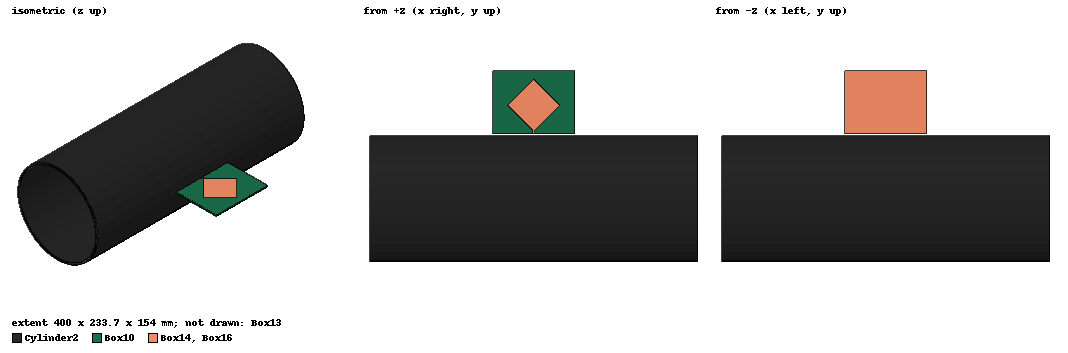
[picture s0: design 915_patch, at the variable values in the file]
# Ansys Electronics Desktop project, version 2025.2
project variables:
  $length = 45.13mm  # tune 40mm..120mm
  $width = 45.13mm  # tune 20mm..60mm
  $indent_length = 11.412526mm
  $indent_clearance = 1mm  # tune 2.5mm..7.5mm
  $indent_width = 2.95mm
  $roffset = 2mm
  $radius = 77mm
  $corner_length = 3mm  # optimise 1.5mm..4.5mm
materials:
  vacuum: permittivity=1
  copper: permeability=0.999991 conductivity=58000000
  air: permittivity=1.0006 permeability=1.0000004
  graphite: conductivity=70000
  FR4_epoxy: permittivity=4.4 dielectric_loss_tangent=0.02
  cast_iron: permeability=60 conductivity=1500000
  CF - Carbon fiber: conductivity=252.337

design 915_patch (HFSS, HFSS Terminal Network, model units mm)
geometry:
  Box10 [FR4_epoxy] = box(corner=(50mm, $radius+$roffset, 0.8mm), size=(-100mm, $length*1.5+10mm, -1.6mm))
  Cylinder2 [CF - Carbon fiber] = cylinder(axis=X, base_centre=(-200mm, 0mm, 0mm), radius=$radius, height=400mm, segments=32)
  Cylinder3 = cylinder(axis=X, base_centre=(200mm, 0mm, 0mm), radius=74mm, height=-400mm)
  Cylinder2.subtract(Cylinder3)
  Box13 [air] = box(corner=(-250mm, 200mm, 100mm), size=(500mm, -400mm, -200mm))
  Box14 [copper] = box(corner=(50mm, $radius+$roffset, -0.8mm), size=(-100mm, $length*1.5+10mm, -0.035mm))
  Rectangle1 = rectangle(corner=(-$indent_width/2, $radius+$roffset, 0.835mm), z_size=-1.67mm, x_size=$indent_width)
  Box15 = box(corner=(-$indent_width/2, $radius+$roffset, 0.8mm), size=($indent_width, 5mm, 0.035mm))
  Box16 [copper] = box(corner=(-$length/2, ($radius+$roffset+2.75mm)+10mm, 0.8mm), size=($length, $length, 0.035mm))
  coordinate_system RelativeCS1 = origin=(0mm, 114.315mm, 0.835mm) x=(1mm, 0mm, 0mm) y=(0mm, 1mm, 0mm)
  Box16.rotate(axis=Z, angle=45deg) in RelativeCS1
  Box16.unite(Box15)
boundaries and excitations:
  Rad1: Radiation Objects=Box13
  Box16_T1: Terminal port=1 Faces=Box16.face(at (0, 79, 0.8175)) TerminalResistance=50ohm
  1: Lumped Port Faces=Rectangle1.face LumpedPortType=Terminal Impedance=50ohm
  reference conductors: Box14
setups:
  Setup1: HfssDriven Frequency=1.575GHz MaxDeltaS=0.02 MaximumPasses=15 MinimumPasses=1 MinimumConvergedPasses=1 PercentRefinement=30 BasisOrder=1 PortAccuracy=2 DrivenSolverType="Direct Solver"
    sweep Sweep: 1400MHz to 1800MHz, 60 points; Type=Discrete SaveFields SaveRadFields
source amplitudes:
  1:1: 1V 0deg
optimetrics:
  OptimizationSetup1: Optimization disabled Optimizer="kDX ASO" AnalysisStopOptions{StopForNumIteration MaxNumIteration=20 MinNumIteration=10} CostFuncNormType=L2 Acceptable_Cost=0 Noise=0.0001 UpdateDesignWhenDone
    vary $corner_length: Min=0.5mm Max=5mm MinStep=0.03mm MaxStep=0.3mm MinFocus=1.5mm MaxFocus=4.5mm start=3mm
    goal dB(GainRHCP) Maximize 0 weight 1 on Setup1 : LastAdaptive at Theta 90deg, Phi 0deg, Freq 1.575GHz
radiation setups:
  Infinite Sphere1: Infinite Sphere Theta=0deg..180deg step 2deg Phi=-180deg..180deg step 2deg
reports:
  Gain Plot1: dB(GainTotal) vs Phi, Theta on Setup1 : LastAdaptive, Infinite Sphere1 [Freq=1.575GHz]
  Gain Plot2: dB(GainRHCP) vs Phi, Theta on Setup1 : LastAdaptive, Infinite Sphere1 [Freq=1.575GHz]
  Terminal S Parameter Plot1: dB(St(Box16_T1,Box16_T1)) vs Freq on Setup1 : Sweep
  Terminal VSWR Plot1: VSWRt(Box16_T1) vs Freq on Setup1 : Sweep
